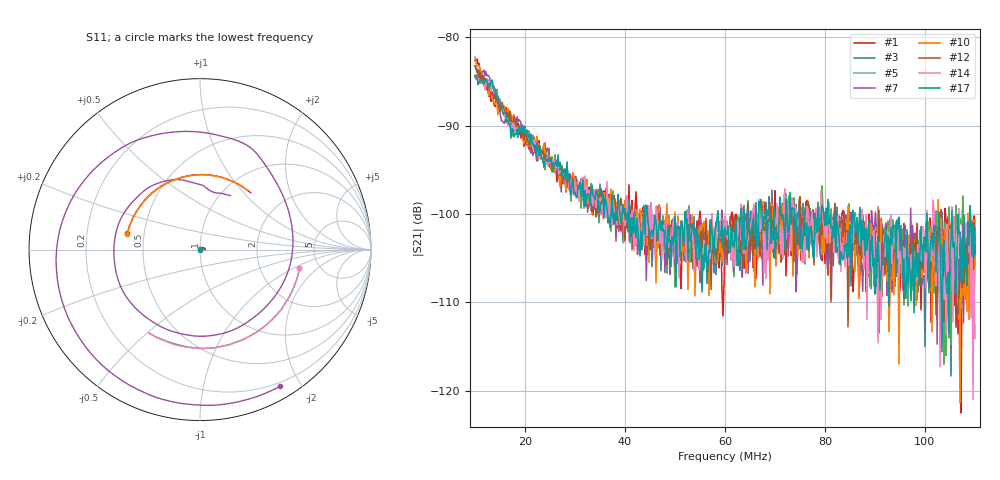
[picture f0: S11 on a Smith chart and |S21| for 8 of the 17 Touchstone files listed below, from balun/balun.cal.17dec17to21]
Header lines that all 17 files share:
! Anritsu VNA Master:  Model: MS2036C/10/77
! SN:  1601066
! Existing Calibration Information:
! TYPE:  Current Settings,  Active Cal Settings
! # POINTS:  501,  501
! START FREQ:  10.000 MHz,  10.000 MHz
! SOURCE POWER:  High,  High
! IFBW:  100 Hz,  100 Hz
! AVG FACTOR:  1 ,  1
! REF PLANE 1:  0 mm,  0 mm
! REF PLANE 2:  0 mm,  0 mm
! CAL TYPE:  Full S11,  Full S11
! CAL METHOD:  SOLT,  SOLT
! CAL LINE TYPE:  Coax,  Coax
! DUT PORT 2:  K-Conn(F),  K-Conn(F)
! CAL STATUS:  OK: Accuracy High,  --
# GHZ S DB R 50.0
! FREQ.GHZ  S11DB  S11A  S21DB  S21A  S12DB  S12A  S22DB  S22A
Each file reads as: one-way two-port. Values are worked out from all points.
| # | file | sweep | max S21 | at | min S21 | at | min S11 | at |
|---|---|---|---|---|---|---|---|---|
| 1 | 252.ew.sma.20ohm4.s2p | 10 MHz to 110 MHz | -82.46 dB | 10.4 MHz | -122.5 dB | 107.2 MHz | -7.3 dB | 31.4 MHz |
| 2 | 252.ew.sma.msr2.s2p | 10 MHz to 110 MHz | -83.77 dB | 11.4 MHz | -128.4 dB | 108 MHz | -9.0 dB | 99.6 MHz |
| 3 | 252.ns.sma.50bohm.s2p | 10 MHz to 110 MHz | -83.26 dB | 10 MHz | -118.3 dB | 105.2 MHz | -46.0 dB | 10 MHz |
| 4 | 254.ns.sma.r200.12.s2p | 10 MHz to 110 MHz | -84.61 dB | 10.2 MHz | -121.0 dB | 89.4 MHz | -51.8 dB | 10 MHz |
| 5 | 254.ns.sma.r200.32.s2p | 10 MHz to 110 MHz | -84.19 dB | 10.4 MHz | -117.0 dB | 103.8 MHz | -4.9 dB | 100.8 MHz |
| 6 | 255.ew.n.r50.2.s2p | 10 MHz to 107.9 MHz | -83.13 dB | 10 MHz | -111.2 dB | 102 MHz | -44.8 dB | 10 MHz |
| 7 | 255.ew.n.s2p | 10 MHz to 107.9 MHz | -83.72 dB | 11.76 MHz | -114.7 dB | 102.4 MHz | -9.3 dB | 101 MHz |
| 8 | 255.ew.sma.r20.1.s2p | 10 MHz to 110 MHz | -82.23 dB | 10 MHz | -117.6 dB | 93.6 MHz | -7.3 dB | 35 MHz |
| 9 | 255.ew.sma.r50.v2.2_1.s2p | 10 MHz to 107.9 MHz | -84.25 dB | 10.2 MHz | -126.8 dB | 103.2 MHz | -4.8 dB | 100.3 MHz |
| 10 | 255.ns.sma.r20.1.s2p | 10 MHz to 110 MHz | -82.25 dB | 10 MHz | -121.4 dB | 107 MHz | -7.3 dB | 42.2 MHz |
| 11 | 255.ns.sma.r20.11.s2p | 10 MHz to 110 MHz | -82.38 dB | 10 MHz | -128.9 dB | 101.4 MHz | -7.3 dB | 34.8 MHz |
| 12 | 255.ns.sma.r50.11.s2p | 10 MHz to 110 MHz | -83.22 dB | 10 MHz | -112.8 dB | 84.6 MHz | -44.7 dB | 10 MHz |
| 13 | 256.ew.n.r200.22.s2p | 10 MHz to 110 MHz | -84.48 dB | 10 MHz | -119.1 dB | 103.6 MHz | -4.9 dB | 108.4 MHz |
| 14 | 256.ew.sma.r200.22.s2p | 10 MHz to 110 MHz | -84.46 dB | 10 MHz | -121.0 dB | 109.6 MHz | -4.9 dB | 100.8 MHz |
| 15 | 256.ns.n.r50.11.s2p | 10 MHz to 110 MHz | -82.97 dB | 10.4 MHz | -118.9 dB | 108.8 MHz | -43.6 dB | 10.6 MHz |
| 16 | 256.ns.sma.r20.11.s2p | 10 MHz to 110 MHz | -82.20 dB | 10.2 MHz | -114.3 dB | 53.2 MHz | -64.1 dB | 10.4 MHz |
| 17 | 256.ns.sma.r200.12.s2p | 10 MHz to 110 MHz | -84.47 dB | 10.2 MHz | -115.6 dB | 103.4 MHz | -51.1 dB | 10.4 MHz |
